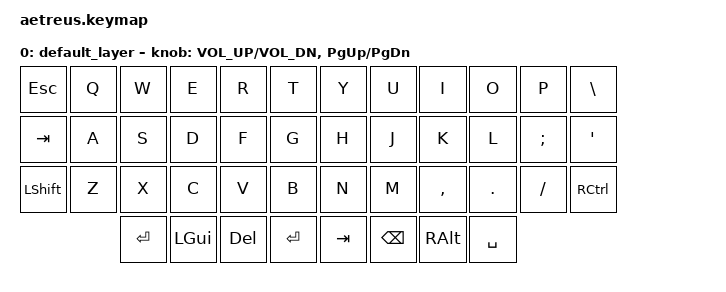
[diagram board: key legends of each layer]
#include <behaviors.dtsi>
#include <dt-bindings/zmk/keys.h>

/ {
    keymap {
        compatible = "zmk,keymap";

        default_layer {
// -------------------------------------------------------------------------------------------------------------------------
// |   ESC   |    Q    |    W    |    E    |    R    |    T    |    Y    |    U    |    I    |    O    |    P    |    \    |
// |---------|---------|---------|---------|---------|---------|---------|---------|---------|---------|---------|---------|
// |   TAB   |    A    |    S    |    D    |    F    |    G    |    H    |    J    |    K    |    L    |    ;    |    '    |
// |---------|---------|---------|---------|---------|---------|---------|---------|---------|---------|---------|---------|
// |  SHIFT  |    Z    |    X    |    C    |    V    |    B    |    N    |    M    |    ,    |    .    |    /    |  R CTRL |
// |---------|---------|---------|---------|---------|---------|---------|---------|---------|---------|---------|---------|
// |         |         |   RET   |   GUI   |   DEL   | RETURN  |   TAB   |   BSPC  |  R ALT  |  SPACE  |         |         |
// -------------------------------------------------------------------------------------------------------------------------
            bindings = <
    &kp ESC    &kp Q    &kp W    &kp E     &kp R     &kp T      &kp Y     &kp U     &kp I     &kp O     &kp P    &kp BSLH
    &kp TAB    &kp A    &kp S    &kp D     &kp F     &kp G      &kp H     &kp J     &kp K     &kp L     &kp SEMI &kp SQT
    &kp LSHIFT &kp Z    &kp X    &kp C     &kp V     &kp B      &kp N     &kp M     &kp COMMA &kp DOT   &kp FSLH &kp RCTRL
                        &kp RET  &kp LGUI  &kp DEL   &kp RET    &kp TAB   &kp BSPC  &kp RALT  &kp SPACE
            >;

            sensor-bindings = <&inc_dec_kp C_VOL_UP C_VOL_DN &inc_dec_kp PG_UP PG_DN>;
        };
    };
};
